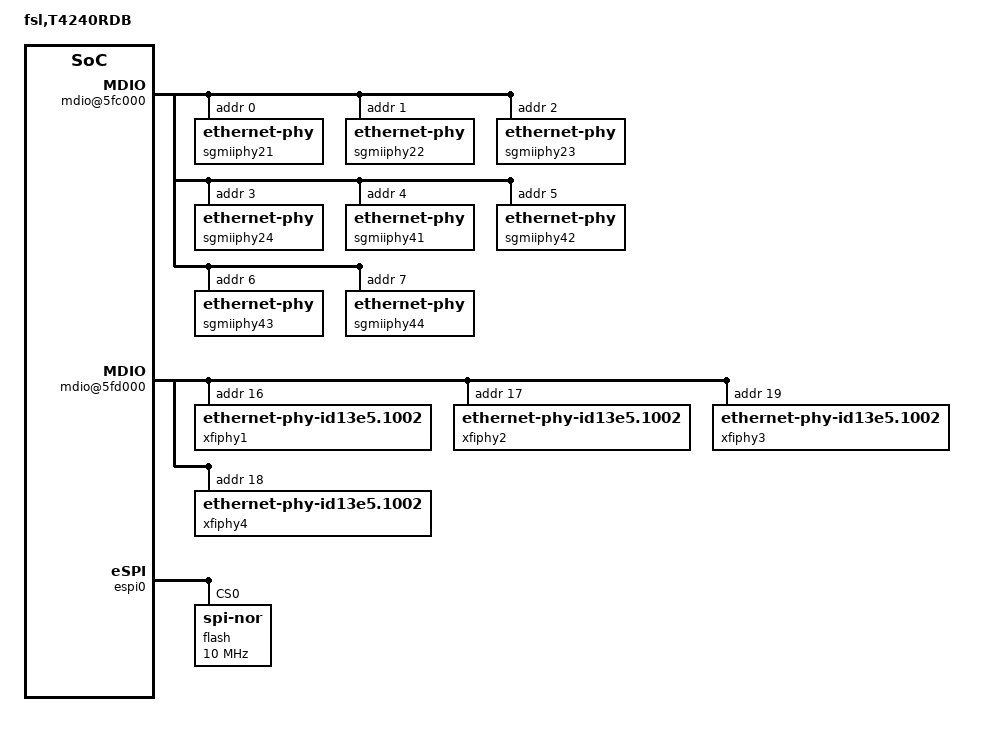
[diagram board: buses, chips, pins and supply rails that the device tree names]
// SPDX-License-Identifier: GPL-2.0+ OR X11
/*
 * T4240RDB Device Tree Source
 *
 * Copyright 2013 - 2015 Freescale Semiconductor Inc.
 * Copyright 2019-2023 NXP
 */

/include/ "t4240.dtsi"

/ {
	model = "fsl,T4240RDB";
	compatible = "fsl,T4240RDB";
	#address-cells = <2>;
	#size-cells = <2>;
	interrupt-parent = <&mpic>;

	aliases {
		spi0 = &espi0;
		serial0 = &serial0;
		serial1 = &serial1;
		serial2 = &serial2;
		serial3 = &serial3;
	};
};

&soc {
	fman@400000 {
		ethernet@e0000 {
			phy-handle = <&sgmiiphy21>;
			phy-connection-type = "sgmii";
		};

		ethernet@e2000 {
			phy-handle = <&sgmiiphy22>;
			phy-connection-type = "sgmii";
		};

		ethernet@e4000 {
			phy-handle = <&sgmiiphy23>;
			phy-connection-type = "sgmii";
		};

		ethernet@e6000 {
			phy-handle = <&sgmiiphy24>;
			phy-connection-type = "sgmii";
		};

		ethernet@e8000 {
			status = "disabled";
		};

		ethernet@ea000 {
			status = "disabled";
		};

		ethernet@f0000 {
			phy-handle = <&xfiphy1>;
			phy-connection-type = "xgmii";
		};

		ethernet@f2000 {
			phy-handle = <&xfiphy2>;
			phy-connection-type = "xgmii";
		};
	};

	fman@500000 {
		ethernet@e0000 {
			phy-handle = <&sgmiiphy41>;
			phy-connection-type = "sgmii";
		};

		ethernet@e2000 {
			phy-handle = <&sgmiiphy42>;
			phy-connection-type = "sgmii";
		};

		ethernet@e4000 {
			phy-handle = <&sgmiiphy43>;
			phy-connection-type = "sgmii";
		};

		ethernet@e6000 {
			phy-handle = <&sgmiiphy44>;
			phy-connection-type = "sgmii";
		};

		ethernet@e8000 {
			status = "disabled";
		};

		ethernet@ea000 {
			status = "disabled";
		};

		ethernet@f0000 {
			phy-handle = <&xfiphy3>;
			phy-connection-type = "xgmii";
		};

		ethernet@f2000 {
			phy-handle = <&xfiphy4>;
			phy-connection-type = "xgmii";
		};

		mdio@5fc000 {
			sgmiiphy21: ethernet-phy@0 {
				reg = <0x0>;
			};

			sgmiiphy22: ethernet-phy@1 {
				reg = <0x1>;
			};

			sgmiiphy23: ethernet-phy@2 {
				reg = <0x2>;
			};

			sgmiiphy24: ethernet-phy@3 {
				reg = <0x3>;
			};

			sgmiiphy41: ethernet-phy@4 {
				reg = <0x4>;
			};

			sgmiiphy42: ethernet-phy@5 {
				reg = <0x5>;
			};

			sgmiiphy43: ethernet-phy@6 {
				reg = <0x6>;
			};

			sgmiiphy44: ethernet-phy@7 {
				reg = <0x7>;
			};
		};

		mdio@5fd000 {
			xfiphy1: ethernet-phy@10 {
				compatible = "ethernet-phy-id13e5.1002";
				reg = <0x10>;
			};

			xfiphy2: ethernet-phy@11 {
				compatible = "ethernet-phy-id13e5.1002";
				reg = <0x11>;
			};

			xfiphy3: ethernet-phy@13 {
				compatible = "ethernet-phy-id13e5.1002";
				reg = <0x13>;
			};

			xfiphy4: ethernet-phy@12 {
				compatible = "ethernet-phy-id13e5.1002";
				reg = <0x12>;
			};
		};
	};
};

&espi0 {
	status = "okay";
	flash@0 {
		compatible = "jedec,spi-nor";
		#address-cells = <1>;
		#size-cells = <1>;
		reg = <0>;
		spi-max-frequency = <10000000>; /* input clock */
	};
};

/include/ "t4240si-post.dtsi"
